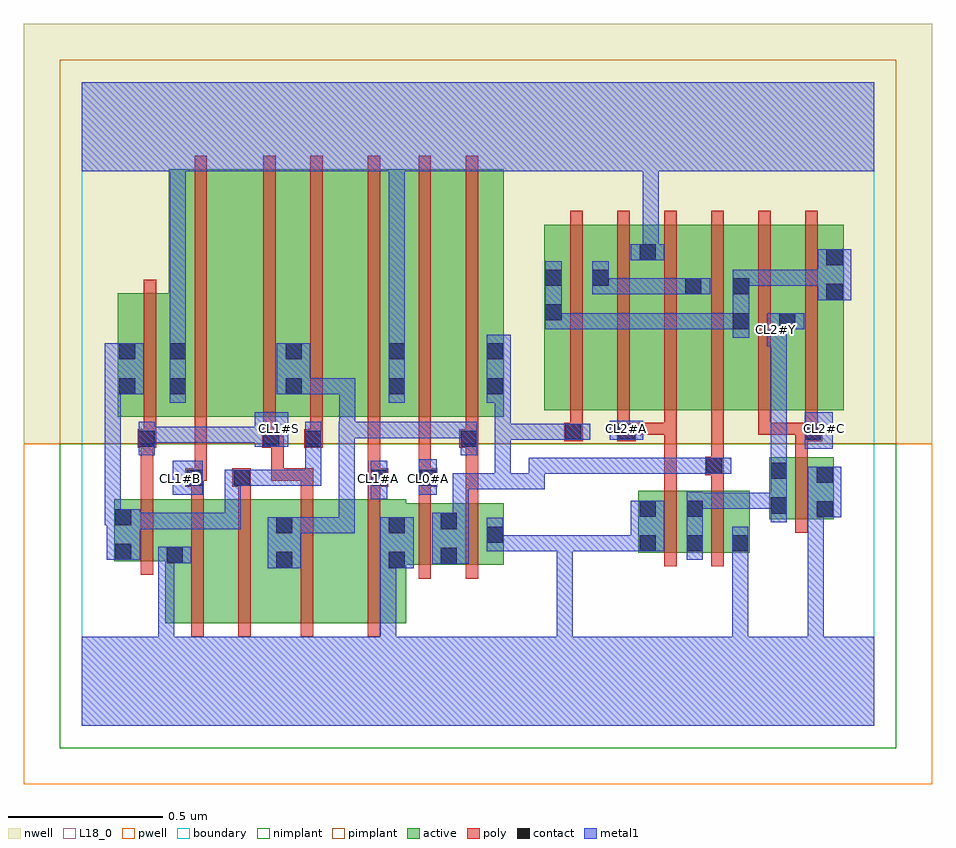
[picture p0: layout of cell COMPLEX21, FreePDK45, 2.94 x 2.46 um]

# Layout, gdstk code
import gdstk
lib = gdstk.Library(unit=1e-6, precision=1e-09)
def R(c, l, rs):  # rectangles x0, y0, x1, y1
    for r in rs: c.add(gdstk.rectangle(r[:2], r[2:], *l))
def A(c, l, x, y, w, h, nx, ny, dx, dy):  # array of equal rectangles
    R(c, l, [(x+i*dx, y+j*dy, x+i*dx+w, y+j*dy+h) for i in range(nx) for j in range(ny)])
active = (1, 0)
pwell = (2, 0)
nwell = (3, 0)
nimplant = (4, 0)
pimplant = (5, 0)
poly = (9, 0)
contact = (10, 0)
metal1 = (11, 0)
L18_0 = (18, 0)
boundary = (235, 0)

complex21 = lib.new_cell('COMPLEX21')
R(complex21, active, [(0.27,0.332,0.45,0.732), (0.27,0.332,0.33,0.582), (0.45,0.332,0.684,0.732), (0.624,0.332,0.804,0.732), (0.804,0.332,1.048,0.732), (0.988,0.332,1.048,0.678), (0.624,0.356,0.684,0.732), (0.988,0.52,1.216,0.72), (1.156,0.52,1.364,0.72), (1.156,0.52,1.216,0.692), (0.104,0.532,0.164,0.732), (0.104,0.532,0.33,0.732), (1.798,0.56,1.858,0.76), (1.798,0.56,2.01,0.76), (1.95,0.56,2.158,0.76), (1.95,0.56,2.01,0.732), (2.098,0.56,2.158,0.76), (1.304,0.588,1.364,0.72), (2.222,0.668,2.282,0.868), (2.222,0.668,2.43,0.868), (2.37,0.668,2.43,0.868), (0.116,0.998,0.34,1.398), (0.116,0.998,0.176,1.356), (0.28,0.998,0.46,1.798), (0.46,0.998,0.714,1.798), (0.654,0.998,0.714,1.724), (0.654,0.998,0.868,1.798), (0.868,0.998,1.048,1.798), (0.988,0.998,1.184,1.798), (0.988,0.998,1.048,1.756), (1.184,0.998,1.364,1.798), (1.304,0.998,1.364,1.724), (1.494,1.02,1.706,1.62), (1.494,1.02,1.554,1.62), (1.646,1.02,1.858,1.62), (1.646,1.02,1.706,1.62), (1.798,1.02,2.006,1.62), (1.798,1.02,1.858,1.56), (1.946,1.02,2.16,1.62), (1.946,1.02,2.006,1.62), (2.1,1.02,2.16,1.556), (2.1,1.02,2.31,1.62), (2.25,1.02,2.31,1.556), (2.25,1.02,2.462,1.62), (2.402,1.02,2.462,1.556), (0.28,1.068,0.34,1.728)])
R(complex21, pwell, [(-0.188,-0.188,2.748,0.912)])
R(complex21, nwell, [(-0.188,0.912,2.748,2.268)])
R(complex21, nimplant, [(-0.072,-0.072,2.632,0.912)])
R(complex21, pimplant, [(-0.072,0.912,2.632,2.152)])
A(complex21, poly, 1.578, 0.94, 0.04, 0.076, 3, 1, 0.152, 0)
A(complex21, poly, 1.578, 0.976, 0.04, 0.688, 6, 1, 0.152, 0)
R(complex21, poly, [(0.354,0.288,0.394,0.776), (0.506,0.288,0.546,0.776), (0.708,0.288,0.748,0.776), (0.924,0.288,0.964,0.776), (1.088,0.476,1.128,0.77), (1.24,0.476,1.28,0.764), (0.19,0.488,0.23,0.776), (1.882,0.516,1.922,0.804), (2.034,0.516,2.074,0.804), (2.306,0.624,2.346,0.912), (1.24,0.724,1.28,0.938), (1.088,0.73,1.128,0.812), (0.19,0.736,0.23,0.938), (0.354,0.736,0.394,0.812), (0.506,0.736,0.546,0.812), (0.708,0.736,0.748,0.832), (0.924,0.736,0.964,0.812), (1.882,0.764,1.922,0.98), (2.034,0.764,2.074,0.85), (0.334,0.772,0.394,0.832), (0.486,0.772,0.546,0.832), (0.924,0.772,0.99,0.832), (1.088,0.772,1.148,0.832), (0.354,0.792,0.394,0.832), (0.354,0.792,0.404,0.832), (0.364,0.792,0.404,0.994), (0.612,0.792,0.652,0.832), (0.612,0.792,0.748,0.832), (0.612,0.792,0.652,0.938), (0.708,0.792,0.748,0.832), (0.924,0.792,0.964,0.832), (0.924,0.792,0.964,0.832), (0.924,0.792,0.964,0.994), (1.088,0.792,1.128,0.832), (1.088,0.792,1.128,0.832), (1.088,0.792,1.128,0.994), (2.014,0.81,2.074,0.87), (2.034,0.83,2.074,0.87), (2.034,0.83,2.074,0.87), (2.034,0.83,2.074,1.016), (2.306,0.872,2.346,0.96), (0.18,0.898,0.24,0.958), (0.19,0.898,0.23,0.938), (0.19,0.898,0.23,0.938), (0.582,0.898,0.642,0.958), (0.602,0.898,0.652,0.938), (0.612,0.898,0.652,0.938), (0.718,0.898,0.778,0.958), (1.22,0.898,1.28,0.958), (1.24,0.898,1.28,0.938), (1.24,0.898,1.28,0.938), (0.2,0.918,0.24,0.994), (0.586,0.918,0.626,0.994), (0.738,0.918,0.778,0.994), (1.24,0.918,1.28,0.994), (1.558,0.92,1.618,0.98), (1.73,0.92,1.79,0.98), (2.306,0.92,2.346,0.96), (2.306,0.92,2.346,0.96), (2.306,0.92,2.392,0.98), (1.75,0.94,1.79,0.98), (1.75,0.94,1.79,0.98), (1.75,0.94,1.922,0.98), (1.882,0.94,1.922,0.98), (1.882,0.94,1.922,0.98), (1.882,0.94,1.922,0.98), (2.186,0.94,2.226,1.016), (2.186,0.94,2.226,0.98), (2.186,0.94,2.346,0.98), (2.306,0.94,2.346,0.98), (2.306,0.94,2.346,0.98), (2.338,0.94,2.378,1.016), (0.2,0.954,0.24,1.442), (0.364,0.954,0.404,1.842), (0.586,0.954,0.626,1.842), (0.738,0.954,0.778,1.842), (0.924,0.954,0.964,1.842), (1.088,0.954,1.128,1.842), (1.24,0.954,1.28,1.842)])
R(complex21, contact, [(0.628,0.51,0.68,0.562), (0.992,0.51,1.044,0.562), (1.16,0.524,1.212,0.576), (0.274,0.526,0.326,0.578), (0.108,0.536,0.16,0.588), (1.802,0.564,1.854,0.616), (1.954,0.564,2.006,0.616), (2.102,0.564,2.154,0.616), (1.308,0.592,1.36,0.644), (0.628,0.622,0.68,0.674), (0.992,0.622,1.044,0.674), (1.16,0.636,1.212,0.688), (0.108,0.648,0.16,0.7), (2.374,0.674,2.426,0.726), (1.802,0.676,1.854,0.728), (1.954,0.676,2.006,0.728), (2.226,0.686,2.278,0.738), (0.338,0.776,0.39,0.828), (0.49,0.776,0.542,0.828), (0.934,0.776,0.986,0.828), (1.092,0.776,1.144,0.828), (2.374,0.786,2.426,0.838), (2.226,0.798,2.278,0.85), (2.018,0.814,2.07,0.866), (0.184,0.902,0.236,0.954), (0.586,0.902,0.638,0.954), (0.722,0.902,0.774,0.954), (1.224,0.902,1.276,0.954), (1.562,0.924,1.614,0.976), (1.734,0.924,1.786,0.976), (2.336,0.924,2.388,0.976), (0.12,1.072,0.172,1.124), (0.284,1.072,0.336,1.124), (0.658,1.072,0.71,1.124), (0.992,1.072,1.044,1.124), (1.308,1.072,1.36,1.124), (0.12,1.184,0.172,1.236), (0.284,1.184,0.336,1.236), (0.658,1.184,0.71,1.236), (0.992,1.184,1.044,1.236), (1.308,1.184,1.36,1.236), (2.104,1.282,2.156,1.334), (2.254,1.282,2.306,1.334), (1.498,1.31,1.55,1.362), (2.406,1.376,2.458,1.428), (1.95,1.394,2.002,1.446), (2.104,1.394,2.156,1.446), (1.498,1.422,1.55,1.474), (1.65,1.422,1.702,1.474), (2.406,1.488,2.458,1.54), (1.802,1.504,1.854,1.556)])
R(complex21, metal1, [(0,0,2.56,0.288), (0.246,0.236,0.298,0.288), (0.246,0.236,0.298,0.288), (0.246,0.236,0.298,0.578), (0.964,0.236,1.016,0.288), (0.964,0.236,1.016,0.288), (0.964,0.236,1.016,0.562), (1.534,0.236,1.586,0.288), (1.534,0.236,1.586,0.288), (1.534,0.236,1.586,0.616), (2.102,0.236,2.154,0.288), (2.102,0.236,2.154,0.288), (2.102,0.236,2.154,0.588), (2.346,0.236,2.398,0.288), (2.346,0.236,2.398,0.288), (2.346,0.236,2.398,0.288), (2.346,0.236,2.398,0.288), (2.346,0.236,2.398,0.288), (2.346,0.236,2.398,0.288), (2.346,0.236,2.398,0.726), (0.6,0.51,0.708,0.674), (0.964,0.51,1.072,0.674), (1.132,0.524,1.25,0.688), (0.246,0.526,0.354,0.578), (0.08,0.536,0.188,0.7), (1.954,0.536,2.006,0.756), (2.102,0.536,2.154,0.588), (2.102,0.536,2.154,0.588), (2.102,0.536,2.154,0.588), (2.102,0.536,2.154,0.588), (2.102,0.536,2.154,0.644), (1.308,0.564,1.36,0.672), (1.308,0.564,1.586,0.616), (1.534,0.564,1.586,0.616), (1.534,0.564,1.586,0.616), (1.534,0.564,1.586,0.616), (1.534,0.564,1.586,0.616), (1.534,0.564,1.586,0.616), (1.534,0.564,1.586,0.616), (1.534,0.564,1.586,0.616), (1.534,0.564,1.586,0.616), (1.534,0.564,1.586,0.616), (1.534,0.564,1.696,0.616), (1.644,0.564,1.696,0.616), (1.644,0.564,1.696,0.616), (1.644,0.564,1.696,0.616), (1.644,0.564,1.826,0.616), (1.774,0.564,1.882,0.728), (0.656,0.622,0.776,0.674), (0.724,0.622,0.776,0.674), (0.724,0.622,0.882,0.674), (0.83,0.622,0.882,0.674), (0.83,0.622,0.882,0.982), (0.136,0.636,0.188,0.688), (0.136,0.636,0.188,0.688), (0.136,0.636,0.404,0.688), (0.352,0.636,0.404,0.688), (0.352,0.636,0.404,0.688), (0.352,0.636,0.404,0.688), (0.352,0.636,0.514,0.688), (0.462,0.636,0.514,0.688), (0.462,0.636,0.514,0.828), (1.198,0.636,1.25,0.816), (0.074,0.648,0.126,1.124), (0.074,0.648,0.132,0.7), (0.08,0.648,0.132,0.7), (2.226,0.658,2.278,0.878), (2.346,0.674,2.454,0.838), (1.954,0.702,2.006,0.754), (1.954,0.702,2.006,0.754), (1.954,0.702,2.156,0.754), (2.104,0.702,2.156,0.754), (2.104,0.702,2.278,0.754), (2.226,0.702,2.278,0.754), (2.226,0.702,2.278,0.754), (0.934,0.732,0.986,0.856), (0.294,0.746,0.39,0.856), (1.088,0.746,1.146,0.862), (1.198,0.764,1.25,0.816), (1.198,0.764,1.386,0.816), (1.334,0.764,1.386,0.816), (1.334,0.764,1.386,0.816), (1.334,0.764,1.386,0.816), (1.334,0.764,1.496,0.816), (1.334,0.764,1.386,0.976), (1.444,0.764,1.496,0.866), (0.462,0.776,0.514,0.828), (0.462,0.776,0.514,0.828), (0.462,0.776,0.57,0.828), (0.518,0.776,0.774,0.828), (0.722,0.776,0.774,0.828), (0.722,0.776,0.774,0.926), (1.444,0.814,1.496,0.866), (1.444,0.814,1.496,0.866), (1.444,0.814,1.716,0.866), (1.664,0.814,1.716,0.866), (1.664,0.814,1.716,0.866), (1.664,0.814,1.716,0.866), (1.664,0.814,1.84,0.866), (1.788,0.814,1.84,0.866), (1.788,0.814,1.84,0.866), (1.788,0.814,1.84,0.866), (1.788,0.814,2.042,0.866), (1.99,0.814,2.042,0.866), (1.99,0.814,2.042,0.866), (1.99,0.814,2.098,0.866), (2.226,0.826,2.278,1.278), (0.184,0.874,0.236,0.982), (0.722,0.874,0.774,0.926), (0.722,0.874,0.774,0.926), (0.722,0.874,0.774,0.982), (1.224,0.874,1.276,0.982), (2.336,0.896,2.426,1.014), (0.558,0.902,0.666,1.014), (0.184,0.914,0.404,0.966), (0.352,0.914,0.404,0.966), (0.352,0.914,0.404,0.966), (0.352,0.914,0.404,0.966), (0.352,0.914,0.514,0.966), (0.462,0.914,0.514,0.966), (0.462,0.914,0.61,0.966), (1.334,0.924,1.386,0.976), (1.334,0.924,1.586,0.976), (1.334,0.924,1.386,1.096), (1.534,0.924,1.586,0.976), (1.534,0.924,1.586,0.976), (1.534,0.924,1.642,0.976), (1.706,0.924,1.814,0.986), (0.83,0.93,0.882,0.982), (0.83,0.93,0.882,0.982), (0.83,0.93,0.884,0.982), (0.832,0.93,0.994,0.982), (0.832,0.93,0.884,1.124), (0.942,0.93,0.994,0.982), (0.942,0.93,0.994,0.982), (0.942,0.93,0.994,0.982), (0.942,0.93,1.12,0.982), (1.068,0.93,1.12,0.982), (1.068,0.93,1.12,0.982), (1.068,0.93,1.12,0.982), (1.068,0.93,1.276,0.982), (0.284,1.044,0.336,1.264), (0.992,1.044,1.044,1.264), (1.308,1.044,1.386,1.264), (0.074,1.072,0.126,1.124), (0.074,1.072,0.126,1.124), (0.074,1.072,0.2,1.236), (0.63,1.072,0.738,1.236), (0.686,1.072,0.776,1.124), (0.724,1.072,0.776,1.124), (0.724,1.072,0.884,1.124), (0.832,1.072,0.884,1.124), (0.284,1.212,0.336,1.844), (0.992,1.212,1.044,1.844), (2.214,1.226,2.278,1.334), (2.104,1.254,2.156,1.474), (1.498,1.282,1.55,1.334), (1.498,1.282,1.55,1.334), (1.498,1.282,1.55,1.502), (1.498,1.282,1.696,1.334), (1.644,1.282,1.696,1.334), (1.644,1.282,1.696,1.334), (1.644,1.282,1.696,1.334), (1.644,1.282,1.84,1.334), (1.788,1.282,1.84,1.334), (1.788,1.282,1.84,1.334), (1.788,1.282,1.84,1.334), (1.788,1.282,1.992,1.334), (1.94,1.282,1.992,1.334), (1.94,1.282,1.992,1.334), (1.94,1.282,1.992,1.334), (1.94,1.282,2.156,1.334), (2.226,1.282,2.278,1.334), (2.226,1.282,2.278,1.334), (2.226,1.282,2.278,1.334), (2.226,1.282,2.334,1.334), (2.378,1.376,2.486,1.54), (1.65,1.394,1.702,1.446), (1.65,1.394,1.702,1.446), (1.65,1.394,1.702,1.502), (1.65,1.394,1.84,1.446), (1.788,1.394,1.84,1.446), (1.788,1.394,1.84,1.446), (1.788,1.394,1.84,1.446), (1.788,1.394,1.974,1.446), (1.922,1.394,2.03,1.446), (2.104,1.422,2.156,1.474), (2.104,1.422,2.156,1.474), (2.104,1.422,2.266,1.474), (2.214,1.422,2.266,1.474), (2.214,1.422,2.266,1.474), (2.214,1.422,2.266,1.474), (2.214,1.422,2.43,1.474), (2.378,1.422,2.43,1.474), (2.378,1.422,2.43,1.474), (1.774,1.504,1.882,1.556), (1.812,1.504,1.864,1.556), (1.812,1.504,1.864,1.556), (1.812,1.504,1.864,1.556), (1.812,1.504,1.864,1.556), (1.812,1.504,1.864,1.844), (0,1.792,2.56,2.08)])
R(complex21, L18_0, [(0,0,2.56,0.288), (0.246,0.236,0.298,0.288), (0.246,0.236,0.298,0.288), (0.246,0.236,0.298,0.578), (0.964,0.236,1.016,0.288), (0.964,0.236,1.016,0.288), (0.964,0.236,1.016,0.562), (1.534,0.236,1.586,0.288), (1.534,0.236,1.586,0.288), (1.534,0.236,1.586,0.616), (2.102,0.236,2.154,0.288), (2.102,0.236,2.154,0.288), (2.102,0.236,2.154,0.588), (2.346,0.236,2.398,0.288), (2.346,0.236,2.398,0.288), (2.346,0.236,2.398,0.288), (2.346,0.236,2.398,0.288), (2.346,0.236,2.398,0.288), (2.346,0.236,2.398,0.288), (2.346,0.236,2.398,0.726), (0.964,0.51,1.072,0.674), (0.246,0.526,0.354,0.578), (1.954,0.536,2.006,0.756), (2.102,0.536,2.154,0.644), (2.102,0.536,2.154,0.588), (2.102,0.536,2.154,0.588), (2.102,0.536,2.154,0.588), (2.102,0.536,2.154,0.588), (1.308,0.564,1.36,0.672), (1.308,0.564,1.586,0.616), (1.534,0.564,1.586,0.616), (1.534,0.564,1.586,0.616), (1.534,0.564,1.586,0.616), (1.534,0.564,1.586,0.616), (1.534,0.564,1.586,0.616), (1.534,0.564,1.586,0.616), (1.534,0.564,1.586,0.616), (1.534,0.564,1.586,0.616), (1.534,0.564,1.586,0.616), (1.534,0.564,1.696,0.616), (1.644,0.564,1.696,0.616), (1.644,0.564,1.696,0.616), (1.644,0.564,1.696,0.616), (1.644,0.564,1.826,0.616), (1.774,0.564,1.882,0.728), (2.226,0.658,2.278,0.878), (2.346,0.674,2.454,0.838), (1.954,0.702,2.006,0.754), (1.954,0.702,2.006,0.754), (1.954,0.702,2.156,0.754), (2.104,0.702,2.156,0.754), (2.104,0.702,2.278,0.754), (2.226,0.702,2.278,0.754), (2.226,0.702,2.278,0.754), (0.934,0.732,0.986,0.856), (0.294,0.746,0.39,0.856), (1.088,0.746,1.146,0.862), (0.294,0.774,0.346,0.826), (0.934,0.774,0.986,0.826), (1.094,0.774,1.146,0.826), (2.226,0.826,2.278,1.278), (0.184,0.874,0.236,0.982), (2.336,0.896,2.426,1.014), (0.558,0.902,0.666,1.014), (0.184,0.914,0.404,0.966), (0.352,0.914,0.404,0.966), (0.352,0.914,0.404,0.966), (0.352,0.914,0.404,0.966), (0.352,0.914,0.514,0.966), (0.462,0.914,0.514,0.966), (0.462,0.914,0.61,0.966), (1.706,0.924,1.814,0.986), (0.614,0.934,0.666,0.986), (1.734,0.934,1.786,0.986), (2.374,0.934,2.426,0.986), (0.284,1.044,0.336,1.264), (0.992,1.044,1.044,1.264), (0.284,1.212,0.336,1.844), (0.992,1.212,1.044,1.844), (2.214,1.226,2.278,1.334), (2.214,1.254,2.266,1.306), (2.226,1.282,2.278,1.334), (2.226,1.282,2.278,1.334), (2.226,1.282,2.278,1.334), (2.226,1.282,2.334,1.334), (1.774,1.504,1.882,1.556), (1.812,1.504,1.864,1.556), (1.812,1.504,1.864,1.556), (1.812,1.504,1.864,1.556), (1.812,1.504,1.864,1.556), (1.812,1.504,1.864,1.844), (0,1.792,2.56,2.08)])
R(complex21, boundary, [(0,0,2.56,2.08)])
complex21.add(gdstk.Label('CL0#A', (1.12,0.8), layer=11, texttype=0))
complex21.add(gdstk.Label('CL1#A', (0.96,0.8), layer=11, texttype=0))
complex21.add(gdstk.Label('CL1#B', (0.32,0.8), layer=11, texttype=0))
complex21.add(gdstk.Label('CL1#S', (0.64,0.96), layer=11, texttype=0))
complex21.add(gdstk.Label('CL2#A', (1.76,0.96), layer=11, texttype=0))
complex21.add(gdstk.Label('CL2#C', (2.4,0.96), layer=11, texttype=0))
complex21.add(gdstk.Label('CL2#Y', (2.24,1.28), layer=11, texttype=0))

lib.write_gds('COMPLEX21.gds')
